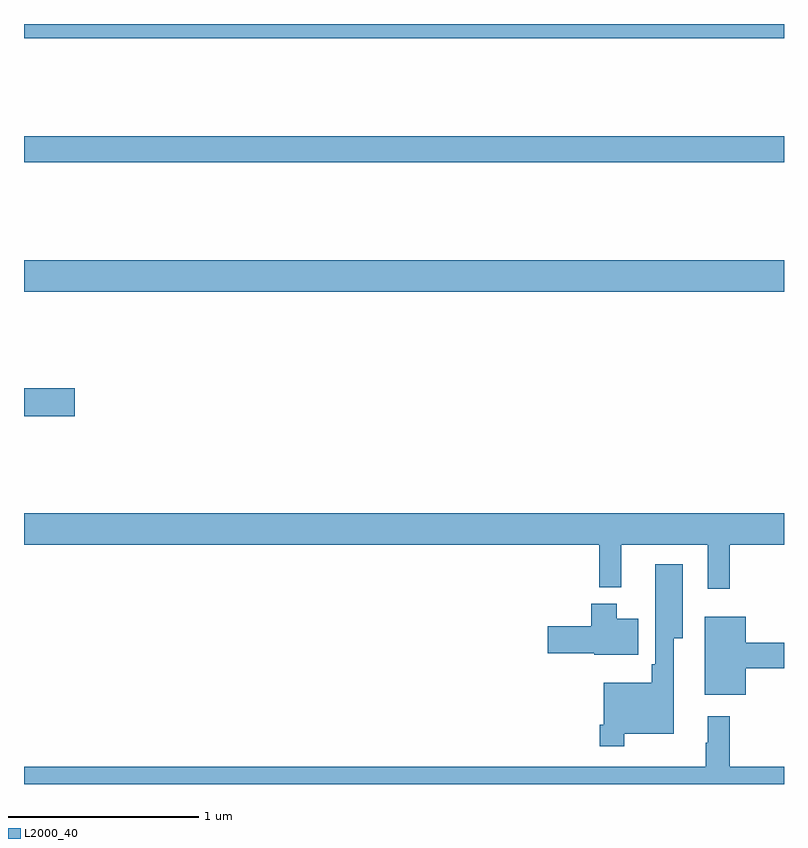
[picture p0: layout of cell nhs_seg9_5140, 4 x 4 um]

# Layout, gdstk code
import gdstk
lib = gdstk.Library(unit=1e-6, precision=1e-09)
def R(c, l, rs):  # rectangles x0, y0, x1, y1
    for r in rs: c.add(gdstk.rectangle(r[:2], r[2:], *l))
def P(c, l, *ps):  # polygons
    for p in ps: c.add(gdstk.Polygon(p, *l))
L2000_40 = (2000, 40)

nhs_seg9_5140 = lib.new_cell('nhs_seg9_5140')
R(nhs_seg9_5140, L2000_40, [(409,1190.435,409.267,1190.582), (409,1191.092,413,1191.256), (409,1191.772,413,1191.908), (409,1192.424,413,1192.5)])
P(nhs_seg9_5140, L2000_40, [(412.715,1189.76),(413,1189.76),(413,1189.924),(409,1189.924),(409,1189.76),(412.027,1189.76),(412.027,1189.535),(412.144,1189.535),(412.144,1189.76),(412.598,1189.76),(412.598,1189.527),(412.715,1189.527)],
  [(412.159,1188.764),(412.42,1188.764),(412.42,1189.268),(412.468,1189.268),(412.468,1189.657),(412.322,1189.657),(412.322,1189.129),(412.303,1189.129),(412.303,1189.033),(412.05,1189.033),(412.05,1188.811),(412.03,1188.811),(412.03,1188.699),(412.159,1188.699)],
  [(412.234,1189.369),(412.12,1189.369),(412.12,1189.45),(411.986,1189.45),(411.986,1189.329),(411.756,1189.329),(411.756,1189.187),(412.002,1189.187),(412.002,1189.181),(412.234,1189.181)],
  [(412.798,1189.108),(413,1189.108),(413,1189.244),(412.798,1189.244),(412.798,1189.381),(412.583,1189.381),(412.583,1188.971),(412.798,1188.971)],
  [(413,1188.592),(412.715,1188.592),(412.715,1188.856),(412.598,1188.856),(412.598,1188.716),(412.587,1188.716),(412.587,1188.592),(409,1188.592),(409,1188.5),(413,1188.5)])

lib.write_gds('nhs_seg9_5140.gds')
